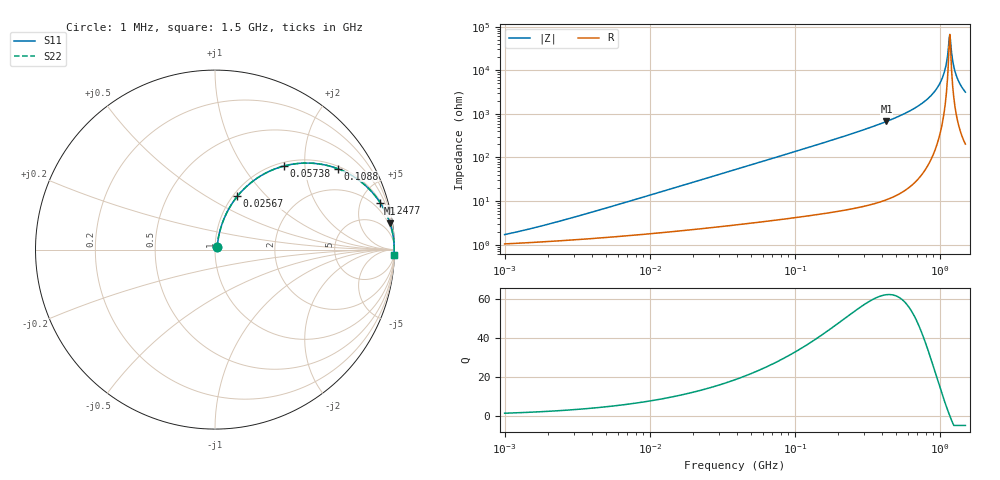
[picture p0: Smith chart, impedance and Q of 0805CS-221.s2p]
# MHz S MA R 50
!Freq  MagS11  AngS11  MagS21  AngS21  MagS12  AngS12  MagS22  AngS22
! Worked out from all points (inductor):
!   801 points, 1 MHz to 1.5 GHz, reference 50 ohm
!   read as one part in series: L = 215 nH near 2.835 MHz
!   highest Q = 62.4 at 428.7 MHz (marker M1), where L = 248 nH
!   self-resonance near 1.161 GHz
!   S11 on the Smith chart (normalised r, x): 1 MHz: 1.02, +0.03; 25.67 MHz: 1.05, +0.69; 57.38 MHz: 1.07, +1.55; 108.8 MHz: 1.09, +2.97; 247.7 MHz: 1.13, +7.01; 1.5 GHz: 5, -63
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1  0.01687 51.6  0.9896 -0.8  0.9896 -0.8  0.01687 51.6
3.404045  0.04719 71.3  0.9859 -2.6  0.9859 -2.6  0.04719 71.3
11.48208  0.1516 74.5  0.9706 -8.7  0.9706 -8.7  0.1516 74.5
25.66791  0.3216 67.3  0.9247 -18.7  0.9247 -18.7  0.3216 67.3
38.72983  0.4546 59.9  0.8666 -27.0  0.8666 -27.0  0.4546 59.9
57.38  0.6017 50.6  0.7737 -37.0  0.7737 -37.0  0.6017 50.6
108.8099  0.8182 33.5  0.5516 -54.9  0.5516 -54.9  0.8182 33.5
131.8381  0.8651 28.6  0.4794 -59.9  0.4794 -59.9  0.8651 28.6
247.7301  0.9568 15.8  0.2731 -73.1  0.2731 -73.1  0.9568 15.8
428.7317  0.9867 8.5  0.1475 -80.6  0.1475 -80.6  0.9867 8.5
444.6989  0.9878 8.1  0.1407 -81.0  0.1407 -81.0  0.9878 8.1
689.6545  0.9961 4.0  0.06981 -84.8  0.06981 -84.8  0.9961 4.0
907.2667  0.9982 1.9  0.03254 -85.8  0.03254 -85.8  0.9982 1.9
1050.163  0.9985 0.8  0.0138 -83.5  0.0138 -83.5  0.9985 0.8
1099.278  0.9985 0.5  0.008066 -79.4  0.008066 -79.4  0.9985 0.5
1140.218  0.9985 0.2  0.003628 -65.9  0.003628 -65.9  0.9985 0.2
1171.921  0.9985 -0.0  0.001511 5.5  0.001511 5.5  0.9985 -0.0
1204.505  0.9984 -0.2  0.003924 66.6  0.003924 66.6  0.9984 -0.2
1249.364  0.9984 -0.5  0.008383 78.5  0.008383 78.5  0.9984 -0.5
1307.795  0.9982 -0.8  0.01412 82.3  0.01412 82.3  0.9982 -0.8
1394.217  0.9979 -1.3  0.02224 84.0  0.02224 84.0  0.9979 -1.3
1500  0.9975 -1.8  0.03165 84.5  0.03165 84.5  0.9975 -1.8
